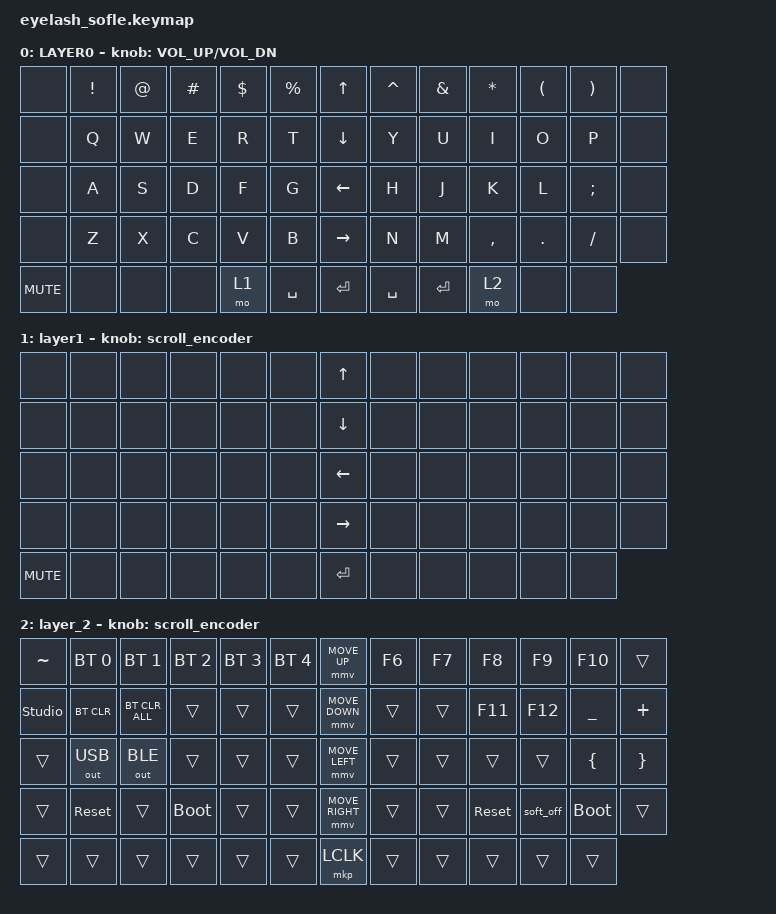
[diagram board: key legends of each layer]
#include <behaviors.dtsi>
#include <dt-bindings/zmk/bt.h>
#include <dt-bindings/zmk/keys.h>
#include <dt-bindings/zmk/mouse.h>
#include <dt-bindings/zmk/outputs.h>
#include <dt-bindings/zmk/rgb.h>

#include <input/processors.dtsi>

/*

   &mmv_input_listener {
       input-processors = <&zip_xy_scaler 2 1>;
   };

   &msc_input_listener {
       input-processors = <&zip_xy_scaler 2 1>;
   };

 */

#define ZMK_MOUSE_DEFAULT_MOVE_VAL 1200  // 600
#define ZMK_MOUSE_DEFAULT_SCRL_VAL 20    // 10


/ {
    behaviors {
        mmv {
            acceleration-exponent = <1>;      // 1
            time-to-max-speed-ms = <900>;    // 40
            delay-ms = <0>;                   // 0
        };

        msc {
            acceleration-exponent = <1>;      // 0
            time-to-max-speed-ms = <400>;      // 500
            delay-ms = <0>;                   //   10
        };
    };

    scroll_encoder: scroll_encoder {
        compatible = "zmk,behavior-sensor-rotate";
        #sensor-binding-cells = <0>;
        bindings = <&msc SCRL_DOWN>, <&msc SCRL_UP>;

        tap-ms = <30>;
    };

    keymap {
        compatible = "zmk,keymap";

        layer0 {
            bindings = <
&none       &kp EXCL   &kp AT        &kp POUND     &kp DLLR &kp PRCNT    &kp UP_ARROW     &kp CARET  &kp AMPS   &kp ASTRK  &kp LPAR         &kp RPAR    &none        
&none       &kp Q      &kp W         &kp E         &kp R    &kp T        &kp DOWN_ARROW   &kp Y      &kp U      &kp I      &kp O            &kp P       &none   
&none       &kp A      &kp S         &kp D         &kp F    &kp G        &kp LEFT_ARROW   &kp H      &kp J      &kp K      &kp L            &kp SEMI    &none   
&none       &kp Z      &kp X         &kp C         &kp V    &kp B        &kp RIGHT_ARROW  &kp N      &kp M      &kp COMMA  &kp DOT          &kp FSLH    &none    
&kp C_MUTE  &none      &none         &none         &mo 1    &kp SPACE    &kp ENTER        &kp SPACE  &kp ENTER  &mo 2      &none            &none     
            >;

            sensor-bindings = <&inc_dec_kp C_VOLUME_UP C_VOL_DN>;
            display-name = "LAYER0";
        };

        layer_1 {
            bindings = <
&none       &none      &none         &none         &none    &none        &kp UP_ARROW     &none      &none      &none      &none            &none       &none        
&none       &none      &none         &none         &none    &none        &kp DOWN_ARROW   &none      &none      &none      &none            &none       &none   
&none       &none      &none         &none         &none    &none        &kp LEFT_ARROW   &none      &none      &none      &none            &none       &none   
&none       &none      &none         &none         &none    &none        &kp RIGHT_ARROW  &none      &none      &none      &none            &none       &none    
&kp C_MUTE  &none      &none         &none         &none    &none        &kp ENTER        &none      &none      &none      &none            &none     
            >;

            display-name = "layer1";
            sensor-bindings = <&scroll_encoder>;
        };

        layer_2 {
            bindings = <
&kp TILDE  &bt BT_SEL 0  &bt BT_SEL 1    &bt BT_SEL 2  &bt BT_SEL 3  &bt BT_SEL 4    &mmv MOVE_UP     &kp F6  &kp F7  &kp F8      &kp F9     &kp F10      &trans
&studio_unlock      &bt BT_CLR    &bt BT_CLR_ALL  &trans        &trans        &trans          &mmv MOVE_DOWN   &trans  &trans  &kp F11     &kp F12    &kp UNDER    &kp PLUS
&trans     &out OUT_USB  &out OUT_BLE    &trans        &trans        &trans          &mmv MOVE_LEFT   &trans  &trans  &trans      &trans     &kp LBRC     &kp RBRC
&trans     &sys_reset    &trans          &bootloader   &trans        &trans          &mmv MOVE_RIGHT  &trans  &trans  &sys_reset  &soft_off  &bootloader  &trans
&trans     &trans        &trans          &trans        &trans        &trans          &mkp LCLK        &trans  &trans  &trans      &trans     &trans
            >;

            sensor-bindings = <&scroll_encoder>;
        };
    };
};
